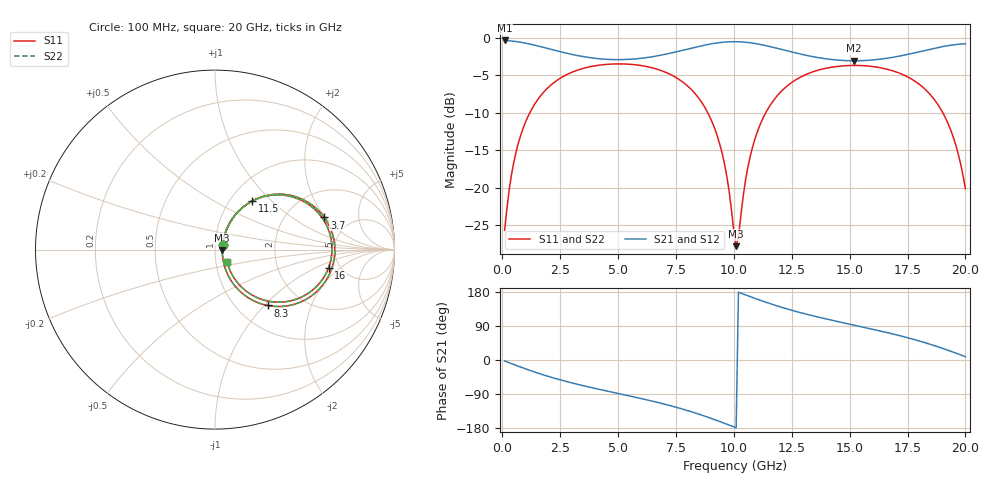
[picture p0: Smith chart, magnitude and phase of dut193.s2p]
! Touchstone file exported from HFSS 2026.1.0
!  File:  C:/ffzhzh/LocalFiles/Ansys_Project_Files/temp_train_TSV_RDL_193_1783058837_36532.aedt
!  Generated:  02:30:13 PM Jul  3, 2026
!  Design:  TSV_RDL
!  Project:  temp_train_TSV_RDL_193_1783058837_36532
! Variables:
!  h_bsmrdl = 2.72um
!  h_ox = 20um
!  h_rdl = 5um
!  h_sub = 97.31um
!  h_tmrdl = 5.83um
!  h_tsv = 97.31um
!  h_via = 3um
!  l_bsmrdl = 716.76um
!  l_sub = 5921.3um
!  l_tmrdl = 820.12um
!  m_sub = 200um
!  pitch = 51.75um
!  r_tsv = 2.33um
!  s_tmrdl = 10um
!  w_bsmrdl = 17.12um
!  w_sub = 500um
!  w_tmrdl = 13.06um
!  x_tsv_center1 = 826.65um
!  x_tsv_center2 = 1560.53um
!  x_tsv_center3 = 2393.71um
!  x_tsv_center4 = 3127.59um
!  x_tsv_center5 = 3960.77um
!  x_tsv_center6 = 4694.65um
# GHz S MA R 50.000000
! Terminal data exported
! Port[1] = TM_RDL1_1_T1
! Port[2] = TM_RDL5_1_T1
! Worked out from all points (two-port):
!   200 points, 100 MHz to 20 GHz, reference 50 ohm
!   highest |S21| = -0.39 dB at 100 MHz (marker M1); lowest = -3.1 dB at 15.2 GHz (marker M2)
!   |S21| within 3 dB of the highest: start of sweep to end of sweep
!   lowest |S11| = -27.8 dB at 10.1 GHz (marker M3), VSWR 1.08, Z = 54.2 - j0.425 ohm
!   |S11| at or under -10 dB: start of sweep to 1.194 GHz; 8.869 GHz to 11.38 GHz (2.515 GHz wide, 24.8 % of centre); 19.02 GHz to end of sweep
!   |S22| runs from -27.8 to -3.5 dB; largest |S21 - S12| = 1.4e-14
!   S11 on the Smith chart (normalised r, x): 100 MHz: 1.09, +0.06; 3.7 GHz: 3.22, +1.94; 8.3 GHz: 1.37, -1.04; 11.5 GHz: 1.26, +0.77; 16 GHz: 4.06, -1.39; 20 GHz: 1.13, -0.16
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0.1  0.05199 31.9  0.9566 -2.4  0.9566 -2.4  0.05199 31.9
! Gamma 0 0 0 0
! Port Impedance 50 0 50 0
0.5  0.1484 60.4  0.9451 -12.0  0.9451 -12.0  0.1484 60.4
1.1  0.2953 55.8  0.9115 -25.5  0.9115 -25.5  0.2953 55.8
2.2  0.497 38.1  0.8271 -47.2  0.8271 -47.2  0.497 38.1
3.5  0.6234 19.1  0.7462 -67.9  0.7462 -67.9  0.6234 19.1
3.7  0.6347 16.4  0.7378 -70.7  0.7378 -70.7  0.6347 16.4
5.3  0.6664 -3.9  0.7139 -92.3  0.7139 -92.3  0.6664 -3.9
6.8  0.6073 -23.6  0.7604 -113.3  0.7604 -113.3  0.6073 -23.6
8.3  0.4275 -46.7  0.86 -139.1  0.86 -139.1  0.4275 -46.7
9.4  0.1927 -62.7  0.9266 -162.5  0.9266 -162.5  0.1927 -62.6
9.7  0.1179 -61.4  0.9357 -169.4  0.9357 -169.4  0.118 -61.3
10.1  0.04067 -5.5  0.9387 -178.8  0.9387 -178.8  0.04075 -5.5
10.7  0.1599 61.4  0.9234 167.3  0.9234 167.3  0.1599 61.4
11.5  0.3401 52.6  0.8753 150.0  0.8753 150.0  0.3401 52.5
13.4  0.5902 23.7  0.7464 116.8  0.7464 116.8  0.5902 23.7
15.2  0.652 0.8  0.7004 91.9  0.7004 91.9  0.652 0.8
16  0.6408 -9.1  0.7092 81.1  0.7092 81.1  0.6408 -9.1
16.7  0.6106 -18.1  0.7314 71.2  0.7314 71.2  0.6105 -18.1
17.9  0.5022 -34.9  0.7969 52.1  0.7969 52.1  0.5022 -34.9
18.8  0.3599 -48.5  0.857 35.1  0.857 35.1  0.3598 -48.5
19.5  0.2114 -56.0  0.895 20.2  0.895 20.2  0.2114 -56.0
20  0.09843 -46.4  0.9091 8.9  0.9091 8.9  0.09844 -46.4
